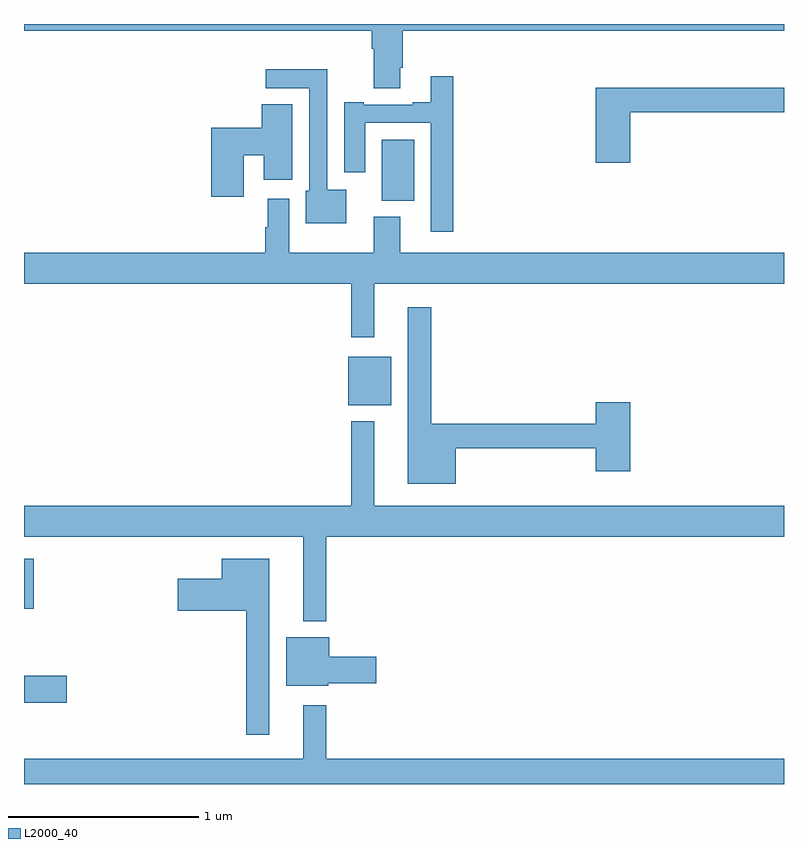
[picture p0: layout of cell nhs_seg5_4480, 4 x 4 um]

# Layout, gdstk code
import gdstk
lib = gdstk.Library(unit=1e-6, precision=1e-09)
def R(c, l, rs):  # rectangles x0, y0, x1, y1
    for r in rs: c.add(gdstk.rectangle(r[:2], r[2:], *l))
def P(c, l, *ps):  # polygons
    for p in ps: c.add(gdstk.Polygon(p, *l))
L2000_40 = (2000, 40)

nhs_seg5_4480 = lib.new_cell('nhs_seg5_4480')
R(nhs_seg5_4480, L2000_40, [(375,849.226,375.226,849.368), (375,849.722,375.052,849.985), (376.706,850.793,376.933,851.047), (376.883,851.87,377.053,852.19)])
P(nhs_seg5_4480, L2000_40, [(376.981,852.568),(376.994,852.568),(376.994,852.764),(379,852.764),(379,852.799),(375,852.799),(375,852.764),(376.829,852.764),(376.829,852.668),(376.841,852.668),(376.841,852.46),(376.981,852.46)],
  [(376.696,851.926),(376.596,851.926),(376.596,852.56),(376.272,852.56),(376.272,852.462),(376.5,852.462),(376.5,851.922),(376.484,851.922),(376.484,851.75),(376.696,851.75)],
  [(377.258,852.523),(377.141,852.523),(377.141,852.388),(377.045,852.388),(377.045,852.375),(376.789,852.375),(376.789,852.388),(376.685,852.388),(376.685,852.018),(376.795,852.018),(376.795,852.279),(377.142,852.279),(377.142,851.706),(377.258,851.706)],
  [(378.191,852.334),(379,852.334),(379,852.463),(378.008,852.463),(378.008,852.069),(378.191,852.069)],
  [(376.156,852.107),(376.262,852.107),(376.262,851.979),(376.411,851.979),(376.411,852.377),(376.25,852.377),(376.25,852.254),(375.986,852.254),(375.986,851.889),(376.156,851.889)],
  [(376.843,851.432),(379,851.432),(379,851.596),(376.981,851.596),(376.981,851.785),(376.841,851.785),(376.841,851.596),(376.396,851.596),(376.396,851.878),(376.283,851.878),(376.283,851.729),(376.271,851.729),(376.271,851.596),(375,851.596),(375,851.432),(376.722,851.432),(376.722,851.151),(376.843,851.151)],
  [(377.272,850.566),(378.008,850.566),(378.008,850.446),(378.191,850.446),(378.191,850.807),(378.008,850.807),(378.008,850.694),(377.143,850.694),(377.143,851.308),(377.021,851.308),(377.021,850.379),(377.272,850.379)],
  [(376.591,850.1),(379,850.1),(379,850.264),(376.843,850.264),(376.843,850.708),(376.722,850.708),(376.722,850.264),(375,850.264),(375,850.1),(376.469,850.1),(376.469,849.656),(376.591,849.656)],
  [(376.291,849.985),(376.04,849.985),(376.04,849.88),(375.81,849.88),(375.81,849.71),(376.17,849.71),(376.17,849.057),(376.291,849.057)],
  [(376.602,849.328),(376.855,849.328),(376.855,849.47),(376.606,849.47),(376.606,849.571),(376.379,849.571),(376.379,849.317),(376.602,849.317)],
  [(379,848.932),(376.591,848.932),(376.591,849.214),(376.469,849.214),(376.469,848.932),(375,848.932),(375,848.799),(379,848.799)])

lib.write_gds('nhs_seg5_4480.gds')
